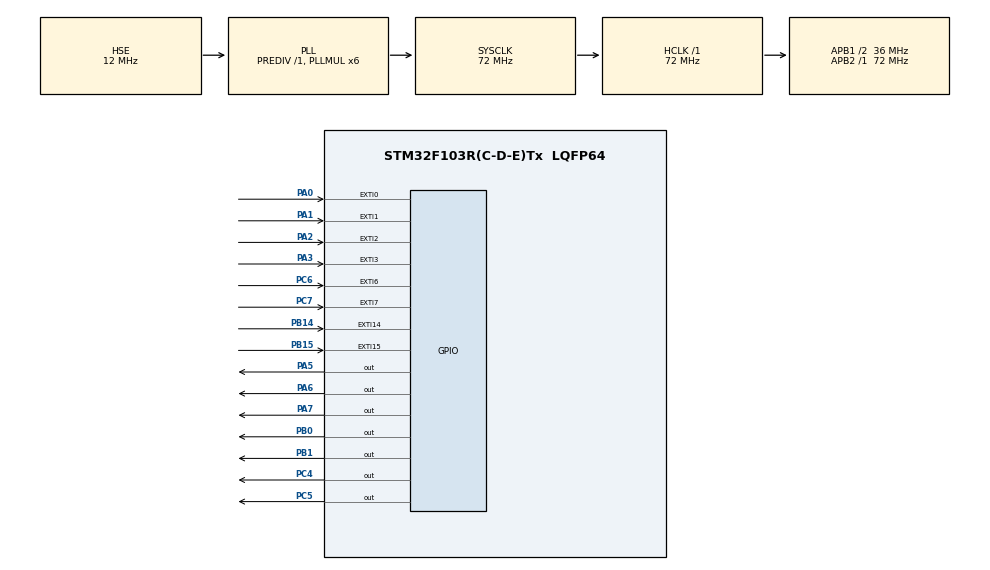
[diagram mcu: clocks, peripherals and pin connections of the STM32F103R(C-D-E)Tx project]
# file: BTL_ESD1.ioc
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Mcu.Family=STM32F1
Mcu.Name=STM32F103R(C-D-E)Tx
Mcu.Package=LQFP64
NVIC.EXTI0_IRQn=true\:0\:0\:false\:false\:true\:true\:true
NVIC.EXTI15_10_IRQn=true\:0\:0\:false\:false\:true\:true\:true
NVIC.EXTI1_IRQn=true\:0\:0\:false\:false\:true\:true\:true
NVIC.EXTI2_IRQn=true\:0\:0\:false\:false\:true\:true\:true
NVIC.EXTI3_IRQn=true\:0\:0\:false\:false\:true\:true\:true
NVIC.EXTI9_5_IRQn=true\:0\:0\:false\:false\:true\:true\:true
NVIC.PriorityGroup=NVIC_PRIORITYGROUP_4
PA0-WKUP.GPIO_PuPd=GPIO_PULLUP
PA0-WKUP.Signal=GPXTI0
PA1.GPIO_PuPd=GPIO_PULLUP
PA1.Signal=GPXTI1
PA13.Mode=Serial_Wire
PA13.Signal=SYS_JTMS-SWDIO
PA14.Mode=Serial_Wire
PA14.Signal=SYS_JTCK-SWCLK
PA2.GPIO_PuPd=GPIO_PULLUP
PA2.Signal=GPXTI2
PA3.GPIO_PuPd=GPIO_PULLUP
PA3.Signal=GPXTI3
PA5.GPIO_Speed=GPIO_SPEED_FREQ_MEDIUM
PA5.Signal=GPIO_Output
PA6.GPIO_Speed=GPIO_SPEED_FREQ_MEDIUM
PA6.Signal=GPIO_Output
PA7.GPIO_Speed=GPIO_SPEED_FREQ_MEDIUM
PA7.Signal=GPIO_Output
PB0.GPIO_Speed=GPIO_SPEED_FREQ_MEDIUM
PB0.Signal=GPIO_Output
PB1.GPIO_Speed=GPIO_SPEED_FREQ_MEDIUM
PB1.Signal=GPIO_Output
PB14.GPIO_PuPd=GPIO_PULLUP
PB14.Signal=GPXTI14
PB15.GPIO_PuPd=GPIO_PULLUP
PB15.Signal=GPXTI15
PC14-OSC32_IN.Mode=LSE-External-Oscillator
PC14-OSC32_IN.Signal=RCC_OSC32_IN
PC15-OSC32_OUT.Mode=LSE-External-Oscillator
PC15-OSC32_OUT.Signal=RCC_OSC32_OUT
PC4.GPIO_Speed=GPIO_SPEED_FREQ_MEDIUM
PC4.Signal=GPIO_Output
PC5.GPIO_Speed=GPIO_SPEED_FREQ_MEDIUM
PC5.Signal=GPIO_Output
PC6.GPIO_PuPd=GPIO_PULLUP
PC6.Signal=GPXTI6
PC7.GPIO_PuPd=GPIO_PULLUP
PC7.Signal=GPXTI7
PD0-OSC_IN.Mode=HSE-External-Oscillator
PD0-OSC_IN.Signal=RCC_OSC_IN
PD1-OSC_OUT.Mode=HSE-External-Oscillator
PD1-OSC_OUT.Signal=RCC_OSC_OUT
ProjectManager.HeapSize=0x200
ProjectManager.StackSize=0x400
ProjectManager.TargetToolchain=STM32CubeIDE
RCC.AHBFreq_Value=72000000
RCC.APB1CLKDivider=RCC_HCLK_DIV2
RCC.APB1Freq_Value=36000000
RCC.APB1TimFreq_Value=72000000
RCC.APB2Freq_Value=72000000
RCC.APB2TimFreq_Value=72000000
RCC.HCLKFreq_Value=72000000
RCC.HSE_VALUE=12000000
RCC.PLLMUL=RCC_PLL_MUL6
RCC.PLLSourceVirtual=RCC_PLLSOURCE_HSE
RCC.SYSCLKFreq_VALUE=72000000
RCC.SYSCLKSource=RCC_SYSCLKSOURCE_PLLCLK
RCC.USBFreq_Value=72000000
RTC.Date=10
RTC.Month=RTC_MONTH_DECEMBER
RTC.Seconds=10
RTC.WeekDay=RTC_WEEKDAY_TUESDAY
RTC.Year=19
TIM7.Period=1000
TIM7.Prescaler=1
VP_RTC_VS_RTC_Activate.Mode=RTC_Enabled
VP_RTC_VS_RTC_Calendar.Mode=RTC_Calendar
VP_TIM7_VS_ClockSourceINT.Mode=Enable_Timer
board=custom

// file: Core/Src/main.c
/* USER CODE BEGIN Header */
/**
  ******************************************************************************
  * @file           : main.c
  * @brief          : Main program body
  ******************************************************************************
  * @attention
  *
  * <h2><center>&copy; Copyright (c) 2019 STMicroelectronics.
  * All rights reserved.</center></h2>
  *
  * This software component is licensed by ST under BSD 3-Clause license,
  * the "License"; You may not use this file except in compliance with the
  * License. You may obtain a copy of the License at:
  *                        opensource.org/licenses/BSD-3-Clause
  *
  ******************************************************************************
  */
/* USER CODE END Header */

#include "main.h"

/* USER CODE BEGIN Includes */
#include "nokia5110.h"
#include "graphic.h"
#include "my_lib.h"
/* USER CODE END Includes */

RTC_HandleTypeDef hrtc;

TIM_HandleTypeDef htim7;

/* USER CODE BEGIN PV */
uint8_t aShowTime[16] = "hh:ms:ss";
uint8_t aShowDate[8] = "hh:ms:ss";
void showTime();
/* USER CODE END PV */

void SystemClock_Config(void);
static void MX_GPIO_Init(void);
static void MX_RTC_Init(void);
static void MX_TIM7_Init(void);
/* USER CODE BEGIN PFP */
static void RTC_TimeShow(uint8_t *showtime);
static void RTC_DateShow(uint8_t* date);
/* USER CODE END PFP */

/* USER CODE BEGIN 0 */
void lcd_init(){
	  LCD_setRST(GPIOB, GPIO_PIN_1);
	  LCD_setCE(GPIOB, GPIO_PIN_0);
	  LCD_setDC(GPIOC, GPIO_PIN_4);
	  LCD_setDIN(GPIOA, GPIO_PIN_7);
	  LCD_setCLK(GPIOA, GPIO_PIN_5);
	  LCD_init();
	  LCD_invert(0);
	  LCD_printBuffer(mari);
	  HAL_Delay(1000);
}
/* USER CODE END 0 */

int main(void)
{

  /* MCU Configuration--------------------------------------------------------*/

  /* Reset of all peripherals, Initializes the Flash interface and the Systick. */
  HAL_Init();

  /* Configure the system clock */
  SystemClock_Config();

  /* Initialize all configured peripherals */
  MX_GPIO_Init();
  MX_RTC_Init();
  MX_TIM7_Init();
  /* USER CODE BEGIN 2 */
  HAL_TIM_Base_Start(&htim7);
  lcd_init();
  bird_pos = 20;

  srand (htim7.Instance->CNT);
  bar_height = 20;
  /* USER CODE END 2 */

  /* Infinite loop */
  while (1)
  {

    /* USER CODE BEGIN 3 */
//	  HAL_GPIO_WritePin(GPIOC,GPIO_PIN_5,GPIO_PIN_SET);

//	  HAL_Delay(1000);
	  while(Flappy_Bird(0, bird,over) == 1){
		  srand (htim7.Instance->CNT);
		  char* high;
//		  Flash_ReadChar(high,DATA_START_ADDRESS,LENGTH_START_ADDRESS);
//		  printStr("Score", 48,  40);
//		  printStr(high  , 30,  40);
//		  LCD_printBuffer(buffer);
//		  HAL_Delay(1000);

	  }
//	  Snake();

//	  Tetris();
  }
  /* USER CODE END 3 */
}

void SystemClock_Config(void)
{
  RCC_OscInitTypeDef RCC_OscInitStruct = {0};
  RCC_ClkInitTypeDef RCC_ClkInitStruct = {0};
  RCC_PeriphCLKInitTypeDef PeriphClkInit = {0};

  /** Initializes the CPU, AHB and APB busses clocks
  */
  RCC_OscInitStruct.OscillatorType = RCC_OSCILLATORTYPE_LSI|RCC_OSCILLATORTYPE_HSE;
  RCC_OscInitStruct.HSEState = RCC_HSE_ON;
  RCC_OscInitStruct.HSEPredivValue = RCC_HSE_PREDIV_DIV1;
  RCC_OscInitStruct.HSIState = RCC_HSI_ON;
  RCC_OscInitStruct.LSIState = RCC_LSI_ON;
  RCC_OscInitStruct.PLL.PLLState = RCC_PLL_ON;
  RCC_OscInitStruct.PLL.PLLSource = RCC_PLLSOURCE_HSE;
  RCC_OscInitStruct.PLL.PLLMUL = RCC_PLL_MUL6;
  if (HAL_RCC_OscConfig(&RCC_OscInitStruct) != HAL_OK)
  {
    Error_Handler();
  }
  /** Initializes the CPU, AHB and APB busses clocks
  */
  RCC_ClkInitStruct.ClockType = RCC_CLOCKTYPE_HCLK|RCC_CLOCKTYPE_SYSCLK
                              |RCC_CLOCKTYPE_PCLK1|RCC_CLOCKTYPE_PCLK2;
  RCC_ClkInitStruct.SYSCLKSource = RCC_SYSCLKSOURCE_PLLCLK;
  RCC_ClkInitStruct.AHBCLKDivider = RCC_SYSCLK_DIV1;
  RCC_ClkInitStruct.APB1CLKDivider = RCC_HCLK_DIV2;
  RCC_ClkInitStruct.APB2CLKDivider = RCC_HCLK_DIV1;

  if (HAL_RCC_ClockConfig(&RCC_ClkInitStruct, FLASH_LATENCY_2) != HAL_OK)
  {
    Error_Handler();
  }
  PeriphClkInit.PeriphClockSelection = RCC_PERIPHCLK_RTC;
  PeriphClkInit.RTCClockSelection = RCC_RTCCLKSOURCE_LSI;
  if (HAL_RCCEx_PeriphCLKConfig(&PeriphClkInit) != HAL_OK)
  {
    Error_Handler();
  }
}

static void MX_RTC_Init(void)
{

  RTC_TimeTypeDef sTime = {0};
  RTC_DateTypeDef DateToUpdate = {0};

  /** Initialize RTC Only
  */
  hrtc.Instance = RTC;
  hrtc.Init.AsynchPrediv = RTC_AUTO_1_SECOND;
  hrtc.Init.OutPut = RTC_OUTPUTSOURCE_ALARM;
  if (HAL_RTC_Init(&hrtc) != HAL_OK)
  {
    Error_Handler();
  }

  /** Initialize RTC and set the Time and Date
  */
  sTime.Hours = 0x0;
  sTime.Minutes = 0x0;
  sTime.Seconds = 0x10;

  if (HAL_RTC_SetTime(&hrtc, &sTime, RTC_FORMAT_BCD) != HAL_OK)
  {
    Error_Handler();
  }
  DateToUpdate.WeekDay = RTC_WEEKDAY_TUESDAY;
  DateToUpdate.Month = RTC_MONTH_DECEMBER;
  DateToUpdate.Date = 0x10;
  DateToUpdate.Year = 0x19;

  if (HAL_RTC_SetDate(&hrtc, &DateToUpdate, RTC_FORMAT_BCD) != HAL_OK)
  {
    Error_Handler();
  }

}

static void MX_TIM7_Init(void)
{

  TIM_MasterConfigTypeDef sMasterConfig = {0};

  htim7.Instance = TIM7;
  htim7.Init.Prescaler = 1;
  htim7.Init.CounterMode = TIM_COUNTERMODE_UP;
  htim7.Init.Period = 1000;
  htim7.Init.AutoReloadPreload = TIM_AUTORELOAD_PRELOAD_DISABLE;
  if (HAL_TIM_Base_Init(&htim7) != HAL_OK)
  {
    Error_Handler();
  }
  sMasterConfig.MasterOutputTrigger = TIM_TRGO_RESET;
  sMasterConfig.MasterSlaveMode = TIM_MASTERSLAVEMODE_DISABLE;
  if (HAL_TIMEx_MasterConfigSynchronization(&htim7, &sMasterConfig) != HAL_OK)
  {
    Error_Handler();
  }

}

static void MX_GPIO_Init(void)
{
  GPIO_InitTypeDef GPIO_InitStruct = {0};

  /* GPIO Ports Clock Enable */
  __HAL_RCC_GPIOC_CLK_ENABLE();
  __HAL_RCC_GPIOD_CLK_ENABLE();
  __HAL_RCC_GPIOA_CLK_ENABLE();
  __HAL_RCC_GPIOB_CLK_ENABLE();

  /*Configure GPIO pin Output Level */
  HAL_GPIO_WritePin(GPIOA, GPIO_PIN_5|GPIO_PIN_6|GPIO_PIN_7, GPIO_PIN_RESET);

  /*Configure GPIO pin Output Level */
  HAL_GPIO_WritePin(GPIOC, GPIO_PIN_4|GPIO_PIN_5, GPIO_PIN_RESET);

  /*Configure GPIO pin Output Level */
  HAL_GPIO_WritePin(GPIOB, GPIO_PIN_0|GPIO_PIN_1, GPIO_PIN_RESET);

  /*Configure GPIO pins : PA0 PA1 PA2 PA3 */
  GPIO_InitStruct.Pin = GPIO_PIN_0|GPIO_PIN_1|GPIO_PIN_2|GPIO_PIN_3;
  GPIO_InitStruct.Mode = GPIO_MODE_IT_RISING;
  GPIO_InitStruct.Pull = GPIO_PULLUP;
  HAL_GPIO_Init(GPIOA, &GPIO_InitStruct);

  /*Configure GPIO pins : PA5 PA6 PA7 */
  GPIO_InitStruct.Pin = GPIO_PIN_5|GPIO_PIN_6|GPIO_PIN_7;
  GPIO_InitStruct.Mode = GPIO_MODE_OUTPUT_PP;
  GPIO_InitStruct.Pull = GPIO_NOPULL;
  GPIO_InitStruct.Speed = GPIO_SPEED_FREQ_MEDIUM;
  HAL_GPIO_Init(GPIOA, &GPIO_InitStruct);

  /*Configure GPIO pins : PC4 PC5 */
  GPIO_InitStruct.Pin = GPIO_PIN_4|GPIO_PIN_5;
  GPIO_InitStruct.Mode = GPIO_MODE_OUTPUT_PP;
  GPIO_InitStruct.Pull = GPIO_NOPULL;
  GPIO_InitStruct.Speed = GPIO_SPEED_FREQ_MEDIUM;
  HAL_GPIO_Init(GPIOC, &GPIO_InitStruct);

  /*Configure GPIO pins : PB0 PB1 */
  GPIO_InitStruct.Pin = GPIO_PIN_0|GPIO_PIN_1;
  GPIO_InitStruct.Mode = GPIO_MODE_OUTPUT_PP;
  GPIO_InitStruct.Pull = GPIO_NOPULL;
  GPIO_InitStruct.Speed = GPIO_SPEED_FREQ_MEDIUM;
  HAL_GPIO_Init(GPIOB, &GPIO_InitStruct);

  /*Configure GPIO pins : PB14 PB15 */
  GPIO_InitStruct.Pin = GPIO_PIN_14|GPIO_PIN_15;
  GPIO_InitStruct.Mode = GPIO_MODE_IT_RISING;
  GPIO_InitStruct.Pull = GPIO_PULLUP;
  HAL_GPIO_Init(GPIOB, &GPIO_InitStruct);

  /*Configure GPIO pins : PC6 PC7 */
  GPIO_InitStruct.Pin = GPIO_PIN_6|GPIO_PIN_7;
  GPIO_InitStruct.Mode = GPIO_MODE_IT_RISING;
  GPIO_InitStruct.Pull = GPIO_PULLUP;
  HAL_GPIO_Init(GPIOC, &GPIO_InitStruct);

  /* EXTI interrupt init*/
  HAL_NVIC_SetPriority(EXTI0_IRQn, 0, 0);
  HAL_NVIC_EnableIRQ(EXTI0_IRQn);

  HAL_NVIC_SetPriority(EXTI1_IRQn, 0, 0);
  HAL_NVIC_EnableIRQ(EXTI1_IRQn);

  HAL_NVIC_SetPriority(EXTI2_IRQn, 0, 0);
  HAL_NVIC_EnableIRQ(EXTI2_IRQn);

  HAL_NVIC_SetPriority(EXTI3_IRQn, 0, 0);
  HAL_NVIC_EnableIRQ(EXTI3_IRQn);

  HAL_NVIC_SetPriority(EXTI9_5_IRQn, 0, 0);
  HAL_NVIC_EnableIRQ(EXTI9_5_IRQn);

  HAL_NVIC_SetPriority(EXTI15_10_IRQn, 0, 0);
  HAL_NVIC_EnableIRQ(EXTI15_10_IRQn);

}

/* USER CODE BEGIN 4 */
void showTime(){
	  deleteBuffer_();
	  RTC_TimeShow(aShowTime);
	  RTC_DateShow(aShowDate);
	  printStr(aShowTime, 0, 30);
	  printStr(aShowDate, 0,  15);

	  LCD_printBuffer(buffer);
}
static void RTC_TimeShow(uint8_t *showtime)
{

  RTC_TimeTypeDef stimestructureget;

  /* Get the RTC current Time */
  HAL_RTC_GetTime(&hrtc, &stimestructureget, RTC_FORMAT_BIN);
  /* Get the RTC current Date */
//  HAL_RTC_GetDate(&hrtc, &sdatestructureget, RTC_FORMAT_BIN);
  /* Display time Format : hh:mm:ss */
  sprintf((char *)showtime, "%02d:%02d:%02d", stimestructureget.Hours, stimestructureget.Minutes, stimestructureget.Seconds);
//  sprintf((char*) date, "%02d:%02d:%02d", sdatestructureget.Date, sdatestructureget.Month, sdatestructureget.Year);
}
static void RTC_DateShow(uint8_t* date)
{
  RTC_DateTypeDef sdatestructureget;

  /* Get the RTC current Time */
//  HAL_RTC_GetTime(&hrtc, &stimestructureget, RTC_FORMAT_BIN);
  /* Get the RTC current Date */
  HAL_RTC_GetDate(&hrtc, &sdatestructureget, RTC_FORMAT_BIN);
  /* Display time Format : hh:mm:ss */
//  sprintf((char *)showtime, "%02d:%02d:%02d", stimestructureget.Hours, stimestructureget.Minutes, stimestructureget.Seconds);
  sprintf((char*) date, "%02d:%02d:%02d", sdatestructureget.Date, sdatestructureget.Month, sdatestructureget.Year);
}
/* USER CODE END 4 */

void Error_Handler(void)
{
}

/************************ (C) COPYRIGHT STMicroelectronics *****END OF FILE****/
